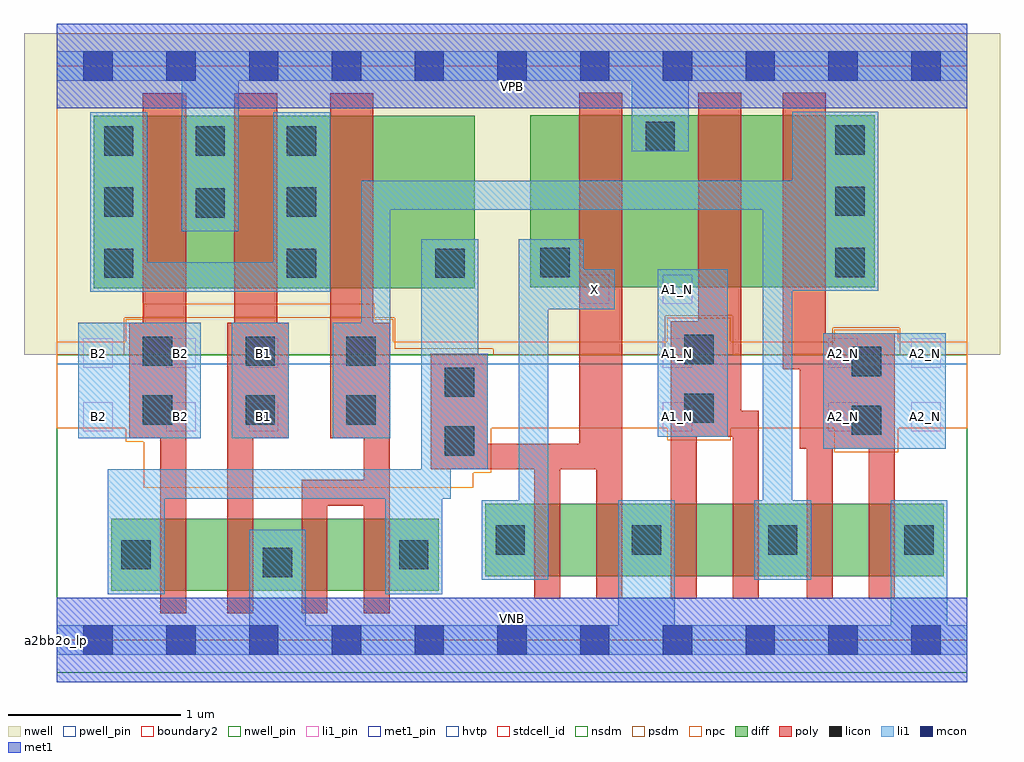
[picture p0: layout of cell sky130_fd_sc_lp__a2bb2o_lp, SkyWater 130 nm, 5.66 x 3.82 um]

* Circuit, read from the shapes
.subckt sky130_fd_sc_lp__a2bb2o_lp A1_N A2_N B1 B2 VGND VNB VPB VPWR X
XM1 n1 B2 n2 VNB sky130_fd_pr__nfet_01v8 w=0.42 l=0.15
XM2 VGND B1 n1 VNB sky130_fd_pr__nfet_01v8 w=0.42 l=0.15
XM3 n3 n4 VGND VNB sky130_fd_pr__nfet_01v8 w=0.42 l=0.15
XM4 n2 n4 n3 VNB sky130_fd_pr__nfet_01v8 w=0.42 l=0.15
XM5 n5 n2 X VNB sky130_fd_pr__nfet_01v8 w=0.42 l=0.15
XM6 VGND n2 n5 VNB sky130_fd_pr__nfet_01v8 w=0.42 l=0.15
XM7 n6 A1_N VGND VNB sky130_fd_pr__nfet_01v8 w=0.42 l=0.15
XM8 n4 A1_N n6 VNB sky130_fd_pr__nfet_01v8 w=0.42 l=0.15
XM9 n7 A2_N n4 VNB sky130_fd_pr__nfet_01v8 w=0.42 l=0.15
XM10 VGND A2_N n7 VNB sky130_fd_pr__nfet_01v8 w=0.42 l=0.15
XM11 VPWR B2 n8 VPB sky130_fd_pr__pfet_01v8_hvt w=1 l=0.25
XM12 n8 B1 VPWR VPB sky130_fd_pr__pfet_01v8_hvt w=1 l=0.25
XM13 n2 n4 n8 VPB sky130_fd_pr__pfet_01v8_hvt w=1 l=0.25
XM14 VPWR n2 X VPB sky130_fd_pr__pfet_01v8_hvt w=1 l=0.25
XM15 n9 A1_N VPWR VPB sky130_fd_pr__pfet_01v8_hvt w=1 l=0.25
XM16 n4 A2_N n9 VPB sky130_fd_pr__pfet_01v8_hvt w=1 l=0.25
.ends

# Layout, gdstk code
import gdstk
lib = gdstk.Library(unit=1e-6, precision=1e-09)
def R(c, l, rs):  # rectangles x0, y0, x1, y1
    for r in rs: c.add(gdstk.rectangle(r[:2], r[2:], *l))
def A(c, l, x, y, w, h, nx, ny, dx, dy):  # array of equal rectangles
    R(c, l, [(x+i*dx, y+j*dy, x+i*dx+w, y+j*dy+h) for i in range(nx) for j in range(ny)])
def P(c, l, *ps):  # polygons
    for p in ps: c.add(gdstk.Polygon(p, *l))
nwell_pin = (64, 16)
nwell = (64, 20)
diff = (65, 20)
poly = (66, 20)
licon = (66, 44)
li1_pin = (67, 16)
li1 = (67, 20)
mcon = (67, 44)
met1_pin = (68, 16)
met1 = (68, 20)
hvtp = (78, 44)
stdcell_id = (81, 4)
nsdm = (93, 44)
psdm = (94, 20)
npc = (95, 20)
pwell_pin = (122, 16)
boundary2 = (236, 0)

sky130_fd_sc_lp__a2bb2o_ = lib.new_cell('sky130_fd_sc_lp__a2bb2o_lp')
R(sky130_fd_sc_lp__a2bb2o_, nwell_pin, [(0,3.085,5.28,3.33)])
R(sky130_fd_sc_lp__a2bb2o_, nwell, [(-0.19,1.655,5.47,3.52)])
R(sky130_fd_sc_lp__a2bb2o_, diff, [(0.315,0.285,2.215,0.705), (2.485,0.37,5.145,0.79), (0.215,2.04,2.425,3.04), (2.745,2.045,4.745,3.045)])
P(sky130_fd_sc_lp__a2bb2o_, poly, [(0.75,3.17),(0.5,3.17),(0.5,1.84),(0.42,1.84),(0.42,1.17),(0.6,1.17),(0.6,0.155),(0.75,0.155)],
  [(1.345,1.84),(1.28,1.84),(1.28,3.17),(1.03,3.17),(1.03,1.84),(0.99,1.84),(0.99,0.155),(1.14,0.155),(1.14,1.17),(1.345,1.17)],
  [(1.93,1.84),(1.835,1.84),(1.835,3.17),(1.585,3.17),(1.585,1.17),(1.78,1.17),(1.78,0.93),(1.42,0.93),(1.42,0.155),(1.57,0.155),(1.57,0.78),(1.78,0.78),(1.78,0.155),(1.93,0.155)],
  [(3.28,3.175),(3.03,3.175),(3.03,1.14),(2.5,1.14),(2.5,1.66),(2.17,1.66),(2.17,0.99),(2.77,0.99),(2.77,0.24),(2.92,0.24),(2.92,0.99),(3.13,0.99),(3.13,0.24),(3.28,0.24)],
  [(4.07,1.33),(3.97,1.33),(3.97,3.175),(3.72,3.175),(3.72,1.85),(3.56,1.85),(3.56,0.24),(3.71,0.24),(3.71,1.18),(3.92,1.18),(3.92,0.24),(4.07,0.24)],
  [(4.86,1.78),(4.46,1.78),(4.46,3.175),(4.21,3.175),(4.21,1.57),(4.31,1.57),(4.31,1.11),(4.35,1.11),(4.35,0.24),(4.5,0.24),(4.5,1.11),(4.71,1.11),(4.71,0.24),(4.86,0.24)])
A(sky130_fd_sc_lp__a2bb2o_, licon, 2.545, 0.495, 0.17, 0.17, 4, 1, 0.79, 0)
A(sky130_fd_sc_lp__a2bb2o_, licon, 4.515, 2.105, 0.17, 0.17, 1, 3, 0, 0.355)
A(sky130_fd_sc_lp__a2bb2o_, licon, 0.275, 2.81, 0.17, 0.17, 3, 1, 0.53, 0)
R(sky130_fd_sc_lp__a2bb2o_, licon, [(1.195,0.365,1.365,0.535), (0.375,0.41,0.545,0.58), (1.985,0.41,2.155,0.58), (2.25,1.07,2.42,1.24), (4.61,1.19,4.78,1.36), (0.5,1.25,0.67,1.42), (1.095,1.25,1.265,1.42), (1.68,1.25,1.85,1.42), (3.64,1.26,3.81,1.43), (2.25,1.41,2.42,1.58), (4.61,1.53,4.78,1.7), (0.5,1.59,0.67,1.76), (1.095,1.59,1.265,1.76), (1.68,1.59,1.85,1.76), (3.64,1.6,3.81,1.77), (0.275,2.1,0.445,2.27), (1.335,2.1,1.505,2.27), (2.195,2.1,2.365,2.27), (2.805,2.105,2.975,2.275), (0.805,2.45,0.975,2.62), (0.275,2.455,0.445,2.625), (1.335,2.455,1.505,2.625), (3.415,2.835,3.585,3.005)])
A(sky130_fd_sc_lp__a2bb2o_, li1_pin, 0.155, 1.21, 0.17, 0.17, 3, 2, 0.48, 0.37)
A(sky130_fd_sc_lp__a2bb2o_, li1_pin, 3.515, 1.21, 0.17, 0.17, 1, 3, 0, 0.37)
R(sky130_fd_sc_lp__a2bb2o_, li1_pin, [(4.475,1.21,4.645,1.38), (4.955,1.21,5.125,1.38), (4.475,1.58,4.645,1.75), (4.955,1.58,5.125,1.75), (3.035,1.95,3.205,2.12)])
R(sky130_fd_sc_lp__a2bb2o_, li1, [(4.445,1.11,5.155,1.78), (0.125,1.17,0.835,1.84), (1.015,1.17,1.345,1.84), (3.485,1.18,3.89,2.15)])
P(sky130_fd_sc_lp__a2bb2o_, li1, [(0.725,2.37),(0.725,3.245),(0,3.245),(0,3.415),(5.28,3.415),(5.28,3.245),(3.665,3.245),(3.665,2.835),(3.335,2.835),(3.335,3.245),(1.055,3.245),(1.055,2.37)],
  [(3.255,0.085),(3.255,0.81),(3.585,0.81),(3.585,0.085),(4.835,0.085),(4.835,0.81),(5.165,0.81),(5.165,0.085),(5.28,0.085),(5.28,-0.085),(0,-0.085),(0,0.085),(1.115,0.085),(1.115,0.64),(1.445,0.64),(1.445,0.085)],
  [(2.115,0.99),(2.115,2.325),(2.445,2.325),(2.445,1.66),(2.5,1.66),(2.5,0.99),(2.285,0.99),(2.285,0.82),(2.235,0.82),(2.235,0.265),(1.905,0.265),(1.905,0.82),(0.625,0.82),(0.625,0.265),(0.295,0.265),(0.295,0.99)],
  [(2.68,2.325),(3.055,2.325),(3.055,2.15),(3.235,2.15),(3.235,1.92),(2.85,1.92),(2.85,0.35),(2.465,0.35),(2.465,0.81),(2.68,0.81)],
  [(1.765,1.84),(1.765,2.665),(4.265,2.665),(4.265,3.065),(4.765,3.065),(4.765,2.025),(4.265,2.025),(4.265,0.81),(4.375,0.81),(4.375,0.35),(4.045,0.35),(4.045,0.81),(4.095,0.81),(4.095,2.495),(1.935,2.495),(1.935,1.17),(1.6,1.17),(1.6,1.84)],
  [(0.195,2.02),(0.195,3.06),(0.525,3.06),(0.525,2.19),(1.255,2.19),(1.255,3.06),(1.585,3.06),(1.585,2.02)])
A(sky130_fd_sc_lp__a2bb2o_, mcon, 0.155, -0.085, 0.17, 0.17, 11, 2, 0.48, 3.33)
R(sky130_fd_sc_lp__a2bb2o_, met1_pin, [(0,0,5.28,0.245), (0,3.085,5.28,3.33)])
R(sky130_fd_sc_lp__a2bb2o_, met1, [(0,-0.245,5.28,0.245), (0,3.085,5.28,3.575)])
R(sky130_fd_sc_lp__a2bb2o_, hvtp, [(0,1.6,5.28,3.33)])
R(sky130_fd_sc_lp__a2bb2o_, stdcell_id, [(0,0,5.28,3.33)])
R(sky130_fd_sc_lp__a2bb2o_, nsdm, [(0,-0.19,5.28,1.655)])
P(sky130_fd_sc_lp__a2bb2o_, psdm, [(5.28,3.52),(0,3.52),(0,1.655),(0.39,1.655),(0.39,1.87),(1.96,1.87),(1.96,1.69),(2.53,1.69),(2.53,1.655),(3.53,1.655),(3.53,1.88),(3.92,1.88),(3.92,1.655),(4.5,1.655),(4.5,1.81),(4.89,1.81),(4.89,1.655),(5.28,1.655)])
P(sky130_fd_sc_lp__a2bb2o_, npc, [(5.28,1.73),(4.88,1.73),(4.88,1.8),(4.51,1.8),(4.51,1.73),(3.91,1.73),(3.91,1.87),(3.54,1.87),(3.54,1.73),(1.95,1.73),(1.95,1.86),(1.845,1.86),(1.845,1.95),(0.505,1.95),(0.505,1.86),(0.4,1.86),(0.4,1.73),(0,1.73),(0,1.23),(0.4,1.23),(0.4,1.15),(0.505,1.15),(0.505,0.885),(2.415,0.885),(2.415,0.97),(2.52,0.97),(2.52,1.23),(3.54,1.23),(3.54,1.16),(3.91,1.16),(3.91,1.23),(4.51,1.23),(4.51,1.09),(4.88,1.09),(4.88,1.23),(5.28,1.23)])
R(sky130_fd_sc_lp__a2bb2o_, pwell_pin, [(0,0,5.28,0.245)])
R(sky130_fd_sc_lp__a2bb2o_, boundary2, [(0,0,5.28,3.33)])
sky130_fd_sc_lp__a2bb2o_.add(gdstk.Label('VNB', (2.64,0.123), layer=64, texttype=59))
sky130_fd_sc_lp__a2bb2o_.add(gdstk.Label('VPB', (2.64,3.208), layer=64, texttype=5))
sky130_fd_sc_lp__a2bb2o_.add(gdstk.Label('a2bb2o_lp', (0,0), layer=83, texttype=44))
sky130_fd_sc_lp__a2bb2o_.add(gdstk.Label('VPWR', (2.64,3.208), layer=68, texttype=5))
sky130_fd_sc_lp__a2bb2o_.add(gdstk.Label('VGND', (2.64,0.123), layer=68, texttype=5))
sky130_fd_sc_lp__a2bb2o_.add(gdstk.Label('A1_N', (3.6,1.295), layer=67, texttype=5))
sky130_fd_sc_lp__a2bb2o_.add(gdstk.Label('A1_N', (3.6,1.665), layer=67, texttype=5))
sky130_fd_sc_lp__a2bb2o_.add(gdstk.Label('A1_N', (3.6,2.035), layer=67, texttype=5))
sky130_fd_sc_lp__a2bb2o_.add(gdstk.Label('A2_N', (4.56,1.295), layer=67, texttype=5))
sky130_fd_sc_lp__a2bb2o_.add(gdstk.Label('A2_N', (4.56,1.665), layer=67, texttype=5))
sky130_fd_sc_lp__a2bb2o_.add(gdstk.Label('A2_N', (5.04,1.295), layer=67, texttype=5))
sky130_fd_sc_lp__a2bb2o_.add(gdstk.Label('A2_N', (5.04,1.665), layer=67, texttype=5))
sky130_fd_sc_lp__a2bb2o_.add(gdstk.Label('B1', (1.2,1.295), layer=67, texttype=5))
sky130_fd_sc_lp__a2bb2o_.add(gdstk.Label('B1', (1.2,1.665), layer=67, texttype=5))
sky130_fd_sc_lp__a2bb2o_.add(gdstk.Label('B2', (0.24,1.295), layer=67, texttype=5))
sky130_fd_sc_lp__a2bb2o_.add(gdstk.Label('B2', (0.24,1.665), layer=67, texttype=5))
sky130_fd_sc_lp__a2bb2o_.add(gdstk.Label('B2', (0.72,1.295), layer=67, texttype=5))
sky130_fd_sc_lp__a2bb2o_.add(gdstk.Label('B2', (0.72,1.665), layer=67, texttype=5))
sky130_fd_sc_lp__a2bb2o_.add(gdstk.Label('X', (3.12,2.035), layer=67, texttype=5))

lib.write_gds('sky130_fd_sc_lp__a2bb2o_lp.gds')
